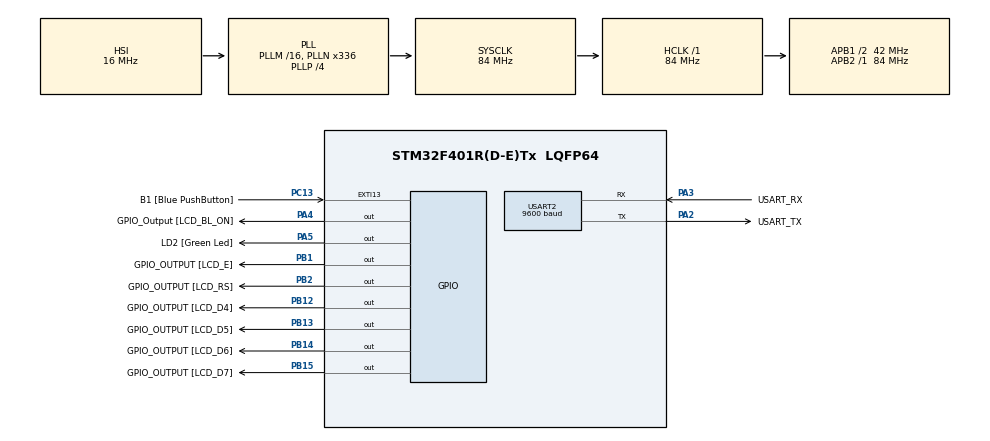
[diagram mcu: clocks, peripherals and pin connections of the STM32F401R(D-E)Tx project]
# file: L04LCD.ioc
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Mcu.Family=STM32F4
Mcu.Name=STM32F401R(D-E)Tx
Mcu.Package=LQFP64
NVIC.PriorityGroup=NVIC_PRIORITYGROUP_0
NVIC.TIM2_IRQn=true\:0\:0\:false\:false\:true\:true\:true\:true
PA13.GPIO_Label=TMS
PA13.Mode=Serial_Wire
PA13.Signal=SYS_JTMS-SWDIO
PA14.GPIO_Label=TCK
PA14.Mode=Serial_Wire
PA14.Signal=SYS_JTCK-SWCLK
PA2.GPIO_Label=USART_TX
PA2.GPIO_Mode=GPIO_MODE_AF_PP
PA2.GPIO_PuPd=GPIO_NOPULL
PA2.GPIO_Speed=GPIO_SPEED_FREQ_LOW
PA2.Mode=Asynchronous
PA2.Signal=USART2_TX
PA3.GPIO_Label=USART_RX
PA3.GPIO_Mode=GPIO_MODE_AF_PP
PA3.GPIO_PuPd=GPIO_NOPULL
PA3.GPIO_Speed=GPIO_SPEED_FREQ_LOW
PA3.Mode=Asynchronous
PA3.Signal=USART2_RX
PA4.GPIO_Label=GPIO_Output [LCD_BL_ON]
PA4.Signal=GPIO_Output
PA5.GPIO_Label=LD2 [Green Led]
PA5.GPIO_Mode=GPIO_MODE_OUTPUT_PP
PA5.GPIO_PuPd=GPIO_NOPULL
PA5.GPIO_Speed=GPIO_SPEED_FREQ_LOW
PA5.Signal=GPIO_Output
PB1.GPIO_Label=GPIO_OUTPUT [LCD_E]
PB1.Signal=GPIO_Output
PB12.GPIO_Label=GPIO_OUTPUT [LCD_D4]
PB12.Signal=GPIO_Output
PB13.GPIO_Label=GPIO_OUTPUT [LCD_D5]
PB13.Signal=GPIO_Output
PB14.GPIO_Label=GPIO_OUTPUT [LCD_D6]
PB14.Signal=GPIO_Output
PB15.GPIO_Label=GPIO_OUTPUT [LCD_D7]
PB15.Signal=GPIO_Output
PB2.GPIO_Label=GPIO_OUTPUT [LCD_RS]
PB2.Signal=GPIO_Output
PB3.GPIO_Label=SWO
PB3.Signal=SYS_JTDO-SWO
PC13-ANTI_TAMP.GPIO_Label=B1 [Blue PushButton]
PC13-ANTI_TAMP.GPIO_ModeDefaultEXTI=GPIO_MODE_IT_FALLING
PC13-ANTI_TAMP.GPIO_PuPd=GPIO_NOPULL
PC13-ANTI_TAMP.Signal=GPXTI13
PC14-OSC32_IN.Mode=LSE-External-Oscillator
PC14-OSC32_IN.Signal=RCC_OSC32_IN
PC15-OSC32_OUT.Mode=LSE-External-Oscillator
PC15-OSC32_OUT.Signal=RCC_OSC32_OUT
PH0\ -\ OSC_IN.Mode=HSE-External-Clock-Source
PH0\ -\ OSC_IN.Signal=RCC_OSC_IN
PH1\ -\ OSC_OUT.Mode=HSE-External-Clock-Source
PH1\ -\ OSC_OUT.Signal=RCC_OSC_OUT
ProjectManager.HeapSize=0x200
ProjectManager.StackSize=0x400
ProjectManager.TargetToolchain=STM32CubeIDE
RCC.48MHZClocksFreq_Value=48000000
RCC.AHBFreq_Value=84000000
RCC.APB1CLKDivider=RCC_HCLK_DIV2
RCC.APB1Freq_Value=42000000
RCC.APB1TimFreq_Value=84000000
RCC.APB2Freq_Value=84000000
RCC.APB2TimFreq_Value=84000000
RCC.CortexFreq_Value=84000000
RCC.HCLKFreq_Value=84000000
RCC.HSE_VALUE=8000000
RCC.HSI_VALUE=16000000
RCC.PLLN=336
RCC.PLLP=RCC_PLLP_DIV4
RCC.PLLQ=7
RCC.SYSCLKFreq_VALUE=84000000
RCC.SYSCLKSource=RCC_SYSCLKSOURCE_PLLCLK
RCC.VCOOutputFreq_Value=336000000
TIM2.Period=9999
TIM2.Prescaler=8399
USART2.BaudRate=9600
USART2.VirtualMode=VM_ASYNC
VP_TIM2_VS_ClockSourceINT.Mode=Internal
board=NUCLEO-F401RE

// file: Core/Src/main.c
/* USER CODE BEGIN Header */
/**
  ******************************************************************************
  * @file           : main.c
  * @brief          : Main program body
  ******************************************************************************
  * @attention
  *
  * Copyright (c) 2024 STMicroelectronics.
  * All rights reserved.
  *
  * This software is licensed under terms that can be found in the LICENSE file
  * in the root directory of this software component.
  * If no LICENSE file comes with this software, it is provided AS-IS.
  *
  ******************************************************************************
  */
/* USER CODE END Header */
#include "main.h"

/* USER CODE BEGIN Includes */
#include <stdio.h>
#include "PMDB16_LCD.h"
/* USER CODE END Includes */

TIM_HandleTypeDef htim2;

UART_HandleTypeDef huart2;

/* USER CODE BEGIN PV */
char string_array[4][16] = {"Anxhela", "Artur", "Faruk", "Marc"};
int row_0_string = 0, row_1_string = 0, first_print = 1;
/* USER CODE END PV */

void SystemClock_Config(void);
static void MX_GPIO_Init(void);
static void MX_USART2_UART_Init(void);
static void MX_TIM2_Init(void);

/* USER CODE BEGIN 0 */
void HAL_TIM_PeriodElapsedCallback(TIM_HandleTypeDef *htim) {
	if (htim->Instance == TIM2) {
		if (first_print) {
			lcd_println(string_array[row_1_string], 1);
			row_1_string++;
			first_print = 0;
			return;
		}
		lcd_println(string_array[row_0_string], 0); // print current string for each row
		lcd_println(string_array[row_1_string], 1);
		row_0_string = (row_0_string + 1) % 4; // update index of current string, cycling every 4 increments
		row_1_string = (row_1_string + 1) % 4;
	}
}
/* USER CODE END 0 */

int main(void)
{

  /* MCU Configuration--------------------------------------------------------*/

  /* Reset of all peripherals, Initializes the Flash interface and the Systick. */
  HAL_Init();

  /* Configure the system clock */
  SystemClock_Config();

  /* Initialize all configured peripherals */
  MX_GPIO_Init();
  MX_USART2_UART_Init();
  MX_TIM2_Init();
  /* USER CODE BEGIN 2 */
  lcd_initialize();
  lcd_backlight_ON();
  HAL_TIM_Base_Start_IT(&htim2);
  /* USER CODE END 2 */

  /* Infinite loop */
  while (1)
  {

  }
}

void SystemClock_Config(void)
{
  RCC_OscInitTypeDef RCC_OscInitStruct = {0};
  RCC_ClkInitTypeDef RCC_ClkInitStruct = {0};

  /** Configure the main internal regulator output voltage
  */
  __HAL_RCC_PWR_CLK_ENABLE();
  __HAL_PWR_VOLTAGESCALING_CONFIG(PWR_REGULATOR_VOLTAGE_SCALE2);

  /** Initializes the RCC Oscillators according to the specified parameters
  * in the RCC_OscInitTypeDef structure.
  */
  RCC_OscInitStruct.OscillatorType = RCC_OSCILLATORTYPE_HSI;
  RCC_OscInitStruct.HSIState = RCC_HSI_ON;
  RCC_OscInitStruct.HSICalibrationValue = RCC_HSICALIBRATION_DEFAULT;
  RCC_OscInitStruct.PLL.PLLState = RCC_PLL_ON;
  RCC_OscInitStruct.PLL.PLLSource = RCC_PLLSOURCE_HSI;
  RCC_OscInitStruct.PLL.PLLM = 16;
  RCC_OscInitStruct.PLL.PLLN = 336;
  RCC_OscInitStruct.PLL.PLLP = RCC_PLLP_DIV4;
  RCC_OscInitStruct.PLL.PLLQ = 7;
  if (HAL_RCC_OscConfig(&RCC_OscInitStruct) != HAL_OK)
  {
    Error_Handler();
  }

  /** Initializes the CPU, AHB and APB buses clocks
  */
  RCC_ClkInitStruct.ClockType = RCC_CLOCKTYPE_HCLK|RCC_CLOCKTYPE_SYSCLK
                              |RCC_CLOCKTYPE_PCLK1|RCC_CLOCKTYPE_PCLK2;
  RCC_ClkInitStruct.SYSCLKSource = RCC_SYSCLKSOURCE_PLLCLK;
  RCC_ClkInitStruct.AHBCLKDivider = RCC_SYSCLK_DIV1;
  RCC_ClkInitStruct.APB1CLKDivider = RCC_HCLK_DIV2;
  RCC_ClkInitStruct.APB2CLKDivider = RCC_HCLK_DIV1;

  if (HAL_RCC_ClockConfig(&RCC_ClkInitStruct, FLASH_LATENCY_2) != HAL_OK)
  {
    Error_Handler();
  }
}

static void MX_TIM2_Init(void)
{

  TIM_ClockConfigTypeDef sClockSourceConfig = {0};
  TIM_MasterConfigTypeDef sMasterConfig = {0};

  htim2.Instance = TIM2;
  htim2.Init.Prescaler = 8399;
  htim2.Init.CounterMode = TIM_COUNTERMODE_UP;
  htim2.Init.Period = 9999;
  htim2.Init.ClockDivision = TIM_CLOCKDIVISION_DIV1;
  htim2.Init.AutoReloadPreload = TIM_AUTORELOAD_PRELOAD_DISABLE;
  if (HAL_TIM_Base_Init(&htim2) != HAL_OK)
  {
    Error_Handler();
  }
  sClockSourceConfig.ClockSource = TIM_CLOCKSOURCE_INTERNAL;
  if (HAL_TIM_ConfigClockSource(&htim2, &sClockSourceConfig) != HAL_OK)
  {
    Error_Handler();
  }
  sMasterConfig.MasterOutputTrigger = TIM_TRGO_RESET;
  sMasterConfig.MasterSlaveMode = TIM_MASTERSLAVEMODE_DISABLE;
  if (HAL_TIMEx_MasterConfigSynchronization(&htim2, &sMasterConfig) != HAL_OK)
  {
    Error_Handler();
  }

}

static void MX_USART2_UART_Init(void)
{

  huart2.Instance = USART2;
  huart2.Init.BaudRate = 9600;
  huart2.Init.WordLength = UART_WORDLENGTH_8B;
  huart2.Init.StopBits = UART_STOPBITS_1;
  huart2.Init.Parity = UART_PARITY_NONE;
  huart2.Init.Mode = UART_MODE_TX_RX;
  huart2.Init.HwFlowCtl = UART_HWCONTROL_NONE;
  huart2.Init.OverSampling = UART_OVERSAMPLING_16;
  if (HAL_UART_Init(&huart2) != HAL_OK)
  {
    Error_Handler();
  }

}

static void MX_GPIO_Init(void)
{
  GPIO_InitTypeDef GPIO_InitStruct = {0};

  /* GPIO Ports Clock Enable */
  __HAL_RCC_GPIOC_CLK_ENABLE();
  __HAL_RCC_GPIOH_CLK_ENABLE();
  __HAL_RCC_GPIOA_CLK_ENABLE();
  __HAL_RCC_GPIOB_CLK_ENABLE();

  /*Configure GPIO pin Output Level */
  HAL_GPIO_WritePin(GPIOA, GPIO_Output_Pin|LD2_Pin, GPIO_PIN_RESET);

  /*Configure GPIO pin Output Level */
  HAL_GPIO_WritePin(GPIOB, GPIO_OUTPUT_Pin|GPIO_OUTPUTB2_Pin|GPIO_OUTPUTB12_Pin|GPIO_OUTPUTB13_Pin
                          |GPIO_OUTPUTB14_Pin|GPIO_OUTPUTB15_Pin, GPIO_PIN_RESET);

  /*Configure GPIO pin : B1_Pin */
  GPIO_InitStruct.Pin = B1_Pin;
  GPIO_InitStruct.Mode = GPIO_MODE_IT_FALLING;
  GPIO_InitStruct.Pull = GPIO_NOPULL;
  HAL_GPIO_Init(B1_GPIO_Port, &GPIO_InitStruct);

  /*Configure GPIO pins : GPIO_Output_Pin LD2_Pin */
  GPIO_InitStruct.Pin = GPIO_Output_Pin|LD2_Pin;
  GPIO_InitStruct.Mode = GPIO_MODE_OUTPUT_PP;
  GPIO_InitStruct.Pull = GPIO_NOPULL;
  GPIO_InitStruct.Speed = GPIO_SPEED_FREQ_LOW;
  HAL_GPIO_Init(GPIOA, &GPIO_InitStruct);

  /*Configure GPIO pins : GPIO_OUTPUT_Pin GPIO_OUTPUTB2_Pin GPIO_OUTPUTB12_Pin GPIO_OUTPUTB13_Pin
                           GPIO_OUTPUTB14_Pin GPIO_OUTPUTB15_Pin */
  GPIO_InitStruct.Pin = GPIO_OUTPUT_Pin|GPIO_OUTPUTB2_Pin|GPIO_OUTPUTB12_Pin|GPIO_OUTPUTB13_Pin
                          |GPIO_OUTPUTB14_Pin|GPIO_OUTPUTB15_Pin;
  GPIO_InitStruct.Mode = GPIO_MODE_OUTPUT_PP;
  GPIO_InitStruct.Pull = GPIO_NOPULL;
  GPIO_InitStruct.Speed = GPIO_SPEED_FREQ_LOW;
  HAL_GPIO_Init(GPIOB, &GPIO_InitStruct);

}

void Error_Handler(void)
{
  __disable_irq();
  while (1)
  {
  }
}
